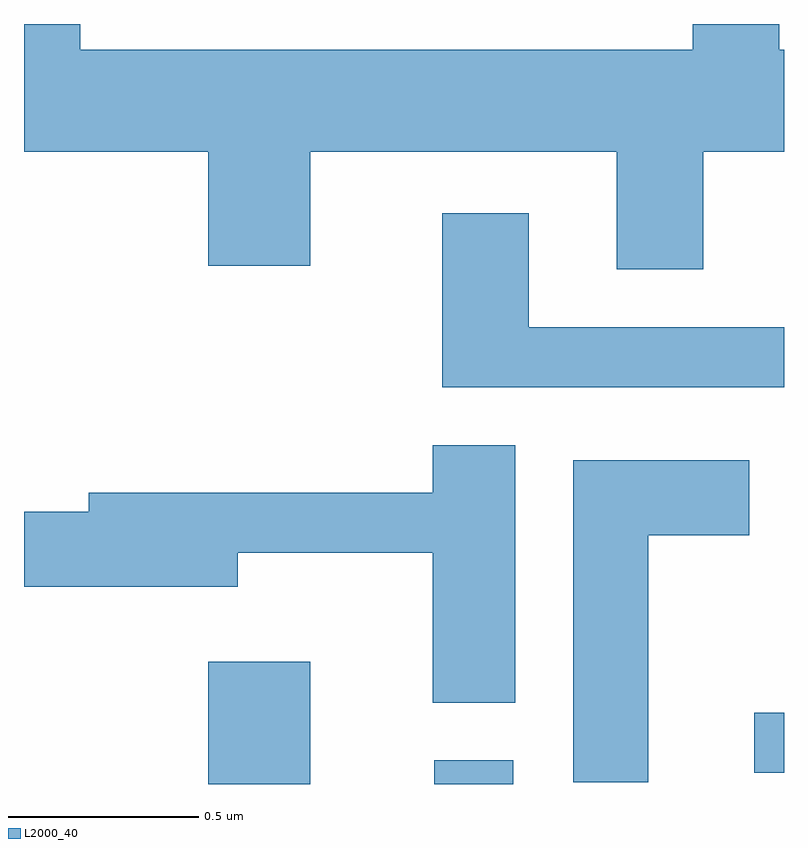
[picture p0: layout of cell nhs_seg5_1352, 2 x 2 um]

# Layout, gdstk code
import gdstk
lib = gdstk.Library(unit=1e-6, precision=1e-09)
def R(c, l, rs):  # rectangles x0, y0, x1, y1
    for r in rs: c.add(gdstk.rectangle(r[:2], r[2:], *l))
def P(c, l, *ps):  # polygons
    for p in ps: c.add(gdstk.Polygon(p, *l))
L2000_40 = (2000, 40)

nhs_seg5_1352 = lib.new_cell('nhs_seg5_1352')
R(nhs_seg5_1352, L2000_40, [(195.096,1515.072,195.364,1515.394), (195.691,1515.072,195.899,1515.134), (196.533,1515.101,196.611,1515.259)])
P(nhs_seg5_1352, L2000_40, [(196.399,1516.736),(196.611,1516.736),(196.611,1517.004),(196.599,1517.004),(196.599,1517.072),(196.371,1517.072),(196.371,1517.004),(194.759,1517.004),(194.759,1517.072),(194.611,1517.072),(194.611,1516.736),(195.096,1516.736),(195.096,1516.436),(195.364,1516.436),(195.364,1516.736),(196.171,1516.736),(196.171,1516.426),(196.399,1516.426)],
  [(196.611,1516.274),(195.939,1516.274),(195.939,1516.574),(195.711,1516.574),(195.711,1516.116),(196.611,1516.116)],
  [(195.904,1515.964),(195.686,1515.964),(195.686,1515.839),(194.781,1515.839),(194.781,1515.789),(194.611,1515.789),(194.611,1515.591),(195.174,1515.591),(195.174,1515.681),(195.686,1515.681),(195.686,1515.286),(195.904,1515.286)],
  [(196.254,1515.726),(196.519,1515.726),(196.519,1515.924),(196.056,1515.924),(196.056,1515.076),(196.254,1515.076)])

lib.write_gds('nhs_seg5_1352.gds')
